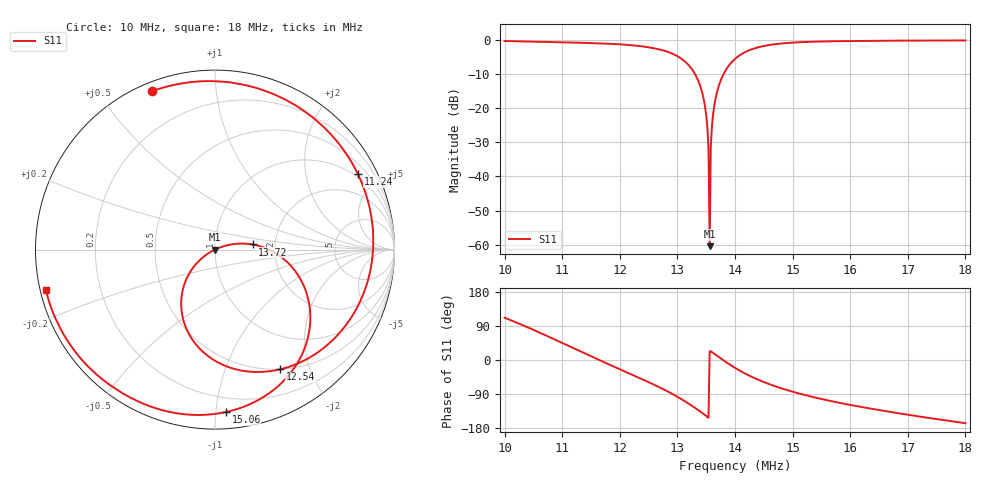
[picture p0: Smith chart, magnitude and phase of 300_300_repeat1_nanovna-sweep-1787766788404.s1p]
! S11 from 300_300_repeat1_nanovna-sweep-1787766788404.csv, converted by the rf-network-modeller history importer
# HZ S RI R 50
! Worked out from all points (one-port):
!   401 points, 10 MHz to 18 MHz, reference 50 ohm
!   lowest |S11| = -60.4 dB at 13.56 MHz (marker M1), VSWR 1.00, Z = 50.1 + j0.0374 ohm
!   |S11| at or under -10 dB: 13.3 MHz to 13.8 MHz (502.1 kHz wide, 3.7 % of centre)
!   S11 on the Smith chart (normalised r, x): 10 MHz: 0.04, +0.68; 11.24 MHz: 0.86, +3.84; 12.54 MHz: 0.50, -1.57; 13.72 MHz: 1.53, +0.09; 15.06 MHz: 0.10, -1.06; 18 MHz: 0.02, -0.12
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1e7  -0.3492 0.8833
1.05e7  0.1686 0.9165
1.1e7  0.6449 0.6429
1.124e7  0.7956 0.4217
1.162e7  0.8814 0.0216
1.2e7  0.7753 -0.3519
1.254e7  0.3648 -0.6668
1.278e7  0.1297 -0.6702
1.3e7  -0.07 -0.567
1.324e7  -0.1873 -0.3311
1.34e7  -0.1483 -0.1414
1.348e7  -0.0858 -0.0597
1.35e7  -0.0662 -0.0423
1.352e7  -0.0454 -0.0254
1.356e7  0.000884 0.000374
1.36e7  0.0508 0.0194
1.362e7  0.0768 0.0261
1.364e7  0.1033 0.0308
1.372e7  0.2104 0.0285
1.384e7  0.3565 -0.0323
1.4e7  0.4865 -0.1848
1.436e7  0.4911 -0.5699
1.466e7  0.3269 -0.7812
1.5e7  0.0999 -0.8953
1.506e7  0.0603 -0.905
1.6e7  -0.4526 -0.8321
1.7e7  -0.7848 -0.5613
1.8e7  -0.9431 -0.2225
